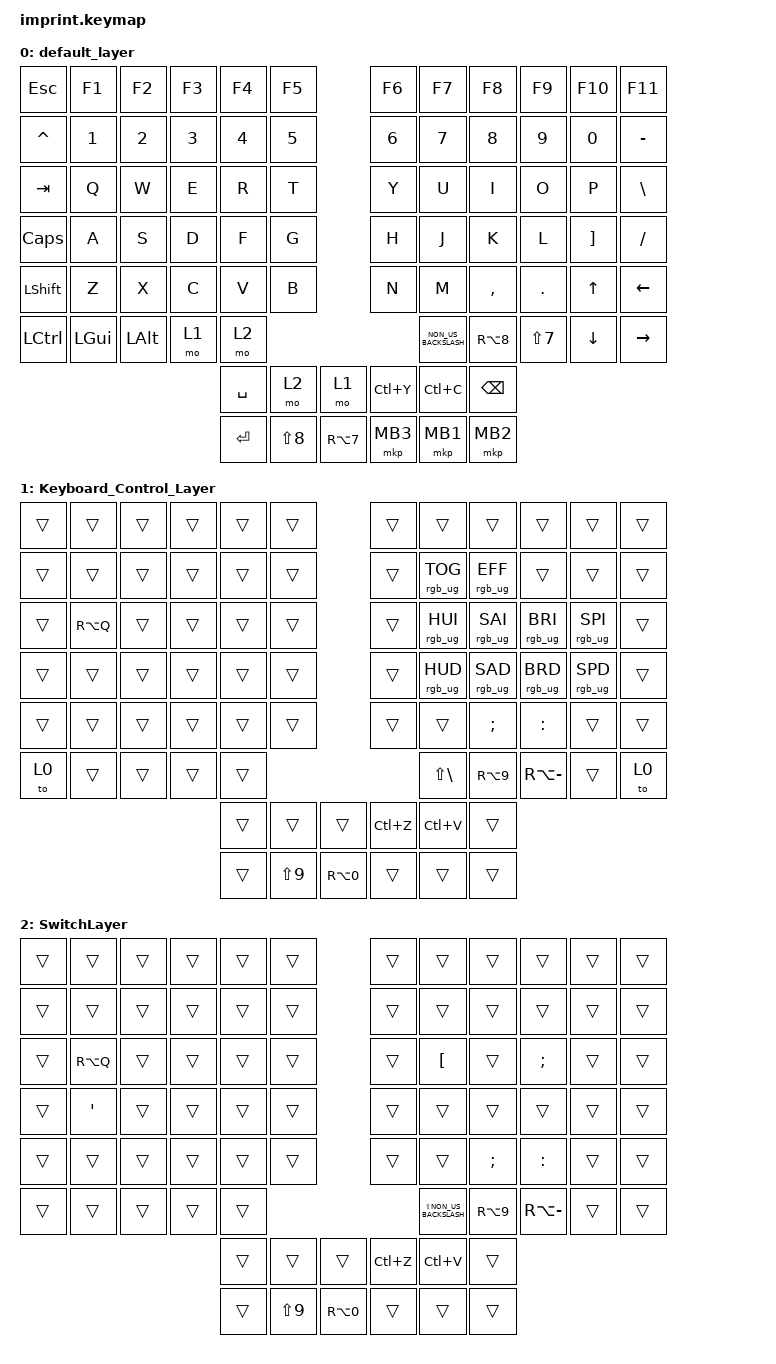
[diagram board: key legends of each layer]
#include <input/processors.dtsi>
#include <dt-bindings/zmk/input_transform.h>
#include <behaviors.dtsi>
#include <dt-bindings/zmk/keys.h>
#include <dt-bindings/zmk/pointing.h>
#include <dt-bindings/zmk/rgb.h>

/ {
    chosen { zmk,matrix-transform = &imprint_function_row_full_bottom_row; };

    keymap {
        compatible = "zmk,keymap";

        default_layer {
            bindings = <
&kp ESC    &kp F1    &kp F2    &kp F3  &kp F4     &kp F5                    &kp F6     &kp F7                &kp F8         &kp F9      &kp F10            &kp F11
&kp CARET  &kp N1    &kp N2    &kp N3  &kp N4     &kp N5                    &kp N6     &kp N7                &kp N8         &kp N9      &kp N0             &kp MINUS
&kp TAB    &kp Q     &kp W     &kp E   &kp R      &kp T                     &kp Y      &kp U                 &kp I          &kp O       &kp P              &kp BACKSLASH
&kp CAPS   &kp A     &kp S     &kp D   &kp F      &kp G                     &kp H      &kp J                 &kp K          &kp L       &kp RIGHT_BRACKET  &kp SLASH
&kp LSHFT  &kp Z     &kp X     &kp C   &kp V      &kp B                     &kp N      &kp M                 &kp COMMA      &kp DOT     &kp UP_ARROW       &kp LEFT_ARROW
&kp LCTRL  &kp LGUI  &kp LALT  &mo 1   &mo 2                                           &kp NON_US_BACKSLASH  &kp RA(N8)     &kp LS(N7)  &kp DOWN           &kp RIGHT_ARROW
                                       &kp SPACE  &mo 2       &mo 1         &kp LC(Y)  &kp LC(C)             &kp BACKSPACE
                                       &kp ENTER  &kp LS(N8)  &kp RA(N7)    &mkp MB3   &mkp MB1              &mkp MB2
            >;
        };

        Keyboard_Control_Layer {
            bindings = <
&trans  &trans     &trans  &trans  &trans  &trans                    &trans     &trans             &trans           &trans           &trans           &trans
&trans  &trans     &trans  &trans  &trans  &trans                    &trans     &rgb_ug RGB_TOG    &rgb_ug RGB_EFF  &trans           &trans           &trans
&trans  &kp RA(Q)  &trans  &trans  &trans  &trans                    &trans     &rgb_ug RGB_HUI    &rgb_ug RGB_SAI  &rgb_ug RGB_BRI  &rgb_ug RGB_SPI  &trans
&trans  &trans     &trans  &trans  &trans  &trans                    &trans     &rgb_ug RGB_HUD    &rgb_ug RGB_SAD  &rgb_ug RGB_BRD  &rgb_ug RGB_SPD  &trans
&trans  &trans     &trans  &trans  &trans  &trans                    &trans     &trans             &kp SEMICOLON    &kp COLON        &trans           &trans
&to 0   &trans     &trans  &trans  &trans                                       &kp LS(BACKSLASH)  &kp RA(N9)       &kp RA(MINUS)    &trans           &to 0
                                   &trans  &trans      &trans        &kp LC(Z)  &kp LC(V)          &trans
                                   &trans  &kp LS(N9)  &kp RA(N0)    &trans     &trans             &trans
            >;
        };

        SwitchLayer {
            bindings = <
&trans  &trans     &trans  &trans  &trans  &trans                    &trans     &trans                    &trans         &trans         &trans  &trans
&trans  &trans     &trans  &trans  &trans  &trans                    &trans     &trans                    &trans         &trans         &trans  &trans
&trans  &kp RA(Q)  &trans  &trans  &trans  &trans                    &trans     &kp LEFT_BRACKET          &trans         &kp SEMICOLON  &trans  &trans
&trans  &kp SQT    &trans  &trans  &trans  &trans                    &trans     &trans                    &trans         &trans         &trans  &trans
&trans  &trans     &trans  &trans  &trans  &trans                    &trans     &trans                    &kp SEMICOLON  &kp COLON      &trans  &trans
&trans  &trans     &trans  &trans  &trans                                       &kp LS(NON_US_BACKSLASH)  &kp RA(N9)     &kp RA(MINUS)  &trans  &trans
                                   &trans  &trans      &trans        &kp LC(Z)  &kp LC(V)                 &trans
                                   &trans  &kp LS(N9)  &kp RA(N0)    &trans     &trans                    &trans
            >;
        };
    };
};

//right hand trackball configuration

&trackball_peripheral_listener {
    input-processors =
        // this gets it to the default installation orientation,,,
        <&zip_xy_scaler 7 5>;
};

//left hand trackball configuration

&trackball_central_listener {
    input-processors =
        // this gets it to the default installation orientation,,,,,,,,
        <&zip_xy_transform INPUT_TRANSFORM_XY_SWAP>,
        // multiply sensitivity by 1, divide by 3 (make it slower for scrolling),,,,,,,,
        <&zip_xy_scaler 1 8>,
        // make this trackball output scrolling events by default instead of cursor movement,,,,,,,,
        <&zip_xy_to_scroll_mapper>,
        // invert vertical scrolling so that the view moves in the same direction as the top of the trackball.,,,,,,,,
        <&zip_scroll_transform INPUT_TRANSFORM_X_INVERT>;
};
